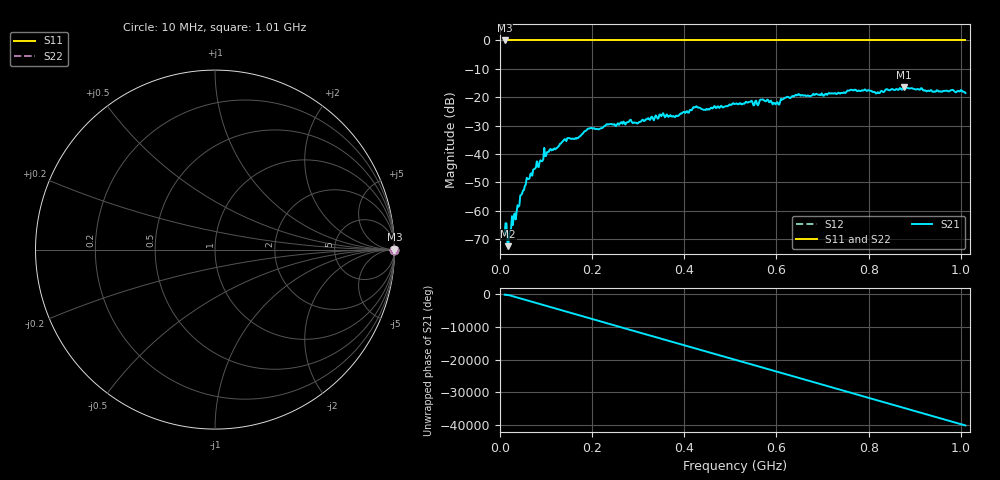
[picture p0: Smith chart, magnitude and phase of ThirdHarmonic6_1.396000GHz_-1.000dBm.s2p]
! 8/16/2025 3:56:23 PM
! C:\ANRITSUVNA\TEMP\TEMP.S2P
! CHANNEL.1
! TR.MEASUREMENT
! RAW.DATA
! RF.CORRECTION.OFF
! AVERAGING.OFF
! IF.BANDWIDTH: 5KHZ
! SWEEPTYPE:  FREQ.SWEEP(Linear)
! Reference Plane Port Info
! PORT:  PORT1  PORT2
! DISTANCE:  0  m  0  m
! TIME:  0  s  0  s
! PHASE.OFFSET:  0  deg.  0  deg.
! LOSS:  0  dB  0  dB
! REF.LOSS:  0  dB  0  dB
! REF.FREQ:  0  Hz  0  Hz
! Power Info
! POWER:  -20  dBm  -20  dBm
! EFF.POWER:  -20  dBm  -20  dBm
! SOURCE.ATTEN:  0  dB  0  dB
! TEST.ATTEN:  0  dB  0  dB
# GHZ S RI R 50.0
! FREQ.GHZ  S11RE  S11IM  S21RE  S21IM  S12RE  S12IM  S22RE  S22IM
!; PortSelection: Port_12
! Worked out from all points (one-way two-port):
!   501 points, 10 MHz to 1.01 GHz, reference 50 ohm
!   highest |S21| = -16.55 dB at 876 MHz (marker M1); lowest = -72.4 dB at 18 MHz (marker M2)
!   lowest |S11| = 0.0 dB at 10 MHz (marker M3)
!   |S11| at or under -10 dB: nowhere
!   |S22| runs from 0.0 to 0.0 dB; largest |S21 - S12| = 1.1
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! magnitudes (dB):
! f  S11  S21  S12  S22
! 10 MHz  0.0  -68.3  0.0  0.0
! 18 MHz  0.0  -72.4  0.0  0.0
! 20 MHz  0.0  -68.3  0.0  0.0
! 28 MHz  0.0  -65.0  0.0  0.0
! 54 MHz  0.0  -51.2  0.0  0.0
! 76 MHz  0.0  -45.1  0.0  0.0
! 100 MHz  0.0  -40.7  0.0  0.0
! 138 MHz  0.0  -35.2  0.0  0.0
! 178 MHz  0.0  -33.0  0.0  0.0
! 194 MHz  0.0  -31.0  0.0  0.0
! 344 MHz  0.0  -27.4  0.0  0.0
! 384 MHz  0.0  -26.5  0.0  0.0
! 424 MHz  0.0  -23.5  0.0  0.0
! 450 MHz  0.0  -24.3  0.0  0.0
! 510 MHz  0.0  -22.4  0.0  0.0
! 568 MHz  0.0  -20.8  0.0  0.0
! 602 MHz  0.0  -21.7  0.0  0.0
! 622 MHz  0.0  -20.0  0.0  0.0
! 678 MHz  0.0  -19.2  0.0  0.0
! 844 MHz  0.0  -17.5  0.0  0.0
! 876 MHz  0.0  -16.5  0.0  0.0
! 1.01 GHz  0.0  -18.5  0.0  0.0
